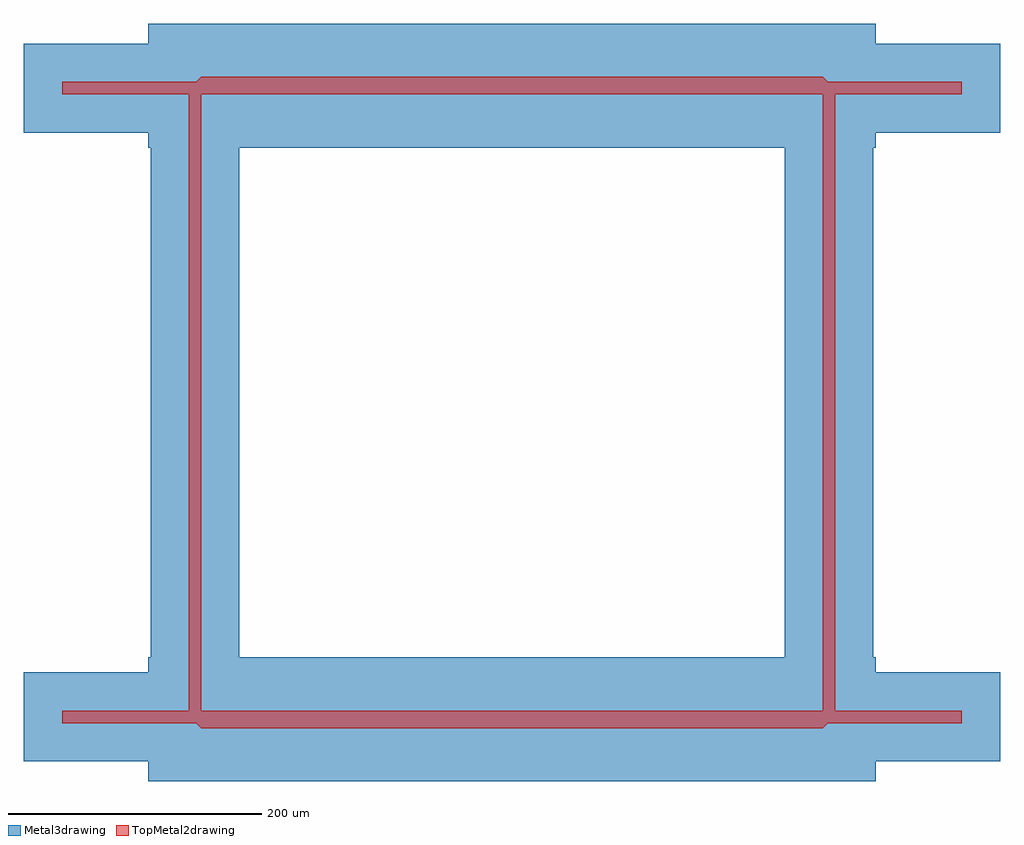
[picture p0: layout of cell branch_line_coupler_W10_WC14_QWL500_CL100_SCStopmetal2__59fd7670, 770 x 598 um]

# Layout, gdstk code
from math import pi, radians
import gdstk
lib = gdstk.Library(unit=1e-6, precision=1e-09)
def R(c, l, rs):  # rectangles x0, y0, x1, y1
    for r in rs: c.add(gdstk.rectangle(r[:2], r[2:], *l))
def P(c, l, *ps):  # polygons
    for p in ps: c.add(gdstk.Polygon(p, *l))
Metal3drawing = (30, 0)
TopMetal2drawing = (134, 0)

unnamed_304 = lib.new_cell('Unnamed_304')
P(unnamed_304, TopMetal2drawing, [(0,0),(0,10),(6,10),(10,14),(10,0)])

straight_gdsfactorypcomp = lib.new_cell('straight_gdsfactorypcomponentspwaveguidespstraight_L490_35e67c76')
R(straight_gdsfactorypcomp, TopMetal2drawing, [(0,-7,490,7)])

c_straight_gdsfactorypcomp = lib.new_cell('straight_gdsfactorypcomponentspwaveguidespstraight_L574_6b3d52bd')
R(c_straight_gdsfactorypcomp, Metal3drawing, [(0,-49,574,49)])

tline_l490_w14_scstopmet = lib.new_cell('tline_L490_W14_SCStopmetal2_routing_GCSmetal3_routing_N2')
tline_l490_w14_scstopmet.add(gdstk.Reference(straight_gdsfactorypcomp, (0,0)))
tline_l490_w14_scstopmet.add(gdstk.Reference(c_straight_gdsfactorypcomp, (-42,0)))

c_straight_gdsfactorypcomp_ = lib.new_cell('straight_gdsfactorypcomponentspwaveguidespstraight_L486_69f3672e')
R(c_straight_gdsfactorypcomp_, TopMetal2drawing, [(0,-5,486,5)])

c_straight_gdsfactorypcomp__ = lib.new_cell('straight_gdsfactorypcomponentspwaveguidespstraight_L546_77927f4d')
R(c_straight_gdsfactorypcomp__, Metal3drawing, [(0,-35,546,35)])

tline_l486_w10_scstopmet = lib.new_cell('tline_L486_W10_SCStopmetal2_routing_GCSmetal3_routing_N2')
tline_l486_w10_scstopmet.add(gdstk.Reference(c_straight_gdsfactorypcomp_, (0,0)))
tline_l486_w10_scstopmet.add(gdstk.Reference(c_straight_gdsfactorypcomp__, (-30,0)))

c_straight_gdsfactorypcomp___ = lib.new_cell('straight_gdsfactorypcomponentspwaveguidespstraight_L100_55d2c898')
R(c_straight_gdsfactorypcomp___, TopMetal2drawing, [(0,-5,100,5)])

c_straight_gdsfactorypcomp____ = lib.new_cell('straight_gdsfactorypcomponentspwaveguidespstraight_L160_a0c8d8b4')
R(c_straight_gdsfactorypcomp____, Metal3drawing, [(0,-35,160,35)])

tline_l100_w10_scstopmet = lib.new_cell('tline_L100_W10_SCStopmetal2_routing_GCSmetal3_routing_N2')
tline_l100_w10_scstopmet.add(gdstk.Reference(c_straight_gdsfactorypcomp___, (0,0)))
tline_l100_w10_scstopmet.add(gdstk.Reference(c_straight_gdsfactorypcomp____, (-30,0)))

branch_line_coupler_w10_ = lib.new_cell('branch_line_coupler_W10_WC14_QWL500_CL100_SCStopmetal2__59fd7670')
branch_line_coupler_w10_.add(gdstk.Reference(unnamed_304, (0,-10)))
branch_line_coupler_w10_.add(gdstk.Reference(tline_l490_w14_scstopmet, (10,-3)))
branch_line_coupler_w10_.add(gdstk.Reference(unnamed_304, (510,-10), rotation=pi, x_reflection=True))
branch_line_coupler_w10_.add(gdstk.Reference(tline_l486_w10_scstopmet, (5,-10), rotation=3*pi/2))
branch_line_coupler_w10_.add(gdstk.Reference(unnamed_304, (0,-496), x_reflection=True))
branch_line_coupler_w10_.add(gdstk.Reference(tline_l490_w14_scstopmet, (10,-503)))
branch_line_coupler_w10_.add(gdstk.Reference(unnamed_304, (510,-496), rotation=pi))
branch_line_coupler_w10_.add(gdstk.Reference(tline_l486_w10_scstopmet, (505,-10), rotation=3*pi/2))
branch_line_coupler_w10_.add(gdstk.Reference(tline_l100_w10_scstopmet, (0,-5), rotation=pi))
branch_line_coupler_w10_.add(gdstk.Reference(tline_l100_w10_scstopmet, (510,-5)))
branch_line_coupler_w10_.add(gdstk.Reference(tline_l100_w10_scstopmet, (510,-501)))
branch_line_coupler_w10_.add(gdstk.Reference(tline_l100_w10_scstopmet, (0,-501), rotation=pi))

lib.write_gds('branch_line_coupler_W10_WC14_QWL500_CL100_SCStopmetal2__59fd7670.gds')
